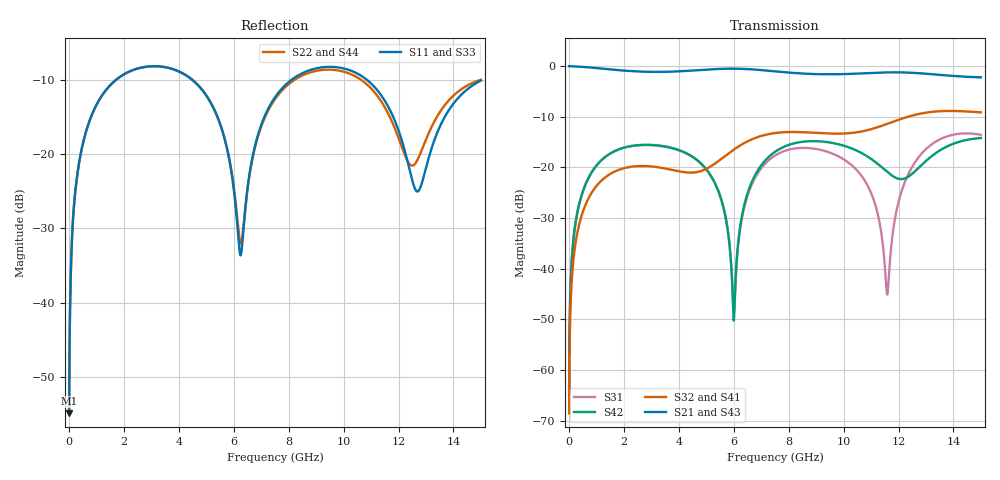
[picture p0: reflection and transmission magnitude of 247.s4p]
! Created with skrf 1.8.0 (http://scikit-rf.org).
# GHz S RI R 50.0
!freq ReS11 ImS11 ReS12 ImS12 ReS13 ImS13
! ReS14 ImS14
! ReS21 ImS21 ReS22 ImS22 ReS23 ImS23
! ReS24 ImS24
! ReS31 ImS31 ReS32 ImS32 ReS33 ImS33
! ReS34 ImS34
! ReS41 ImS41 ReS42 ImS42 ReS43 ImS43
! ReS44 ImS44
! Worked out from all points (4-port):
!   2499 points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, 5 MHz to 15 GHz, reference 50 ohm
!   strongest paths, dB at 5 MHz, 3.476 GHz, 7.19 GHz, 11.1 GHz, 15 GHz:
!     S21: 0.0, -1.1, -0.9, -1.3, -2.2
!     S43: 0.0, -1.1, -0.9, -1.3, -2.2
!     S32: -68.5, -20.2, -13.5, -12.3, -9.1
!     S41: -68.5, -20.2, -13.5, -12.3, -9.2
!     S42: -64.5, -15.8, -18.4, -18.7, -14.2
!     S31: -64.5, -15.9, -19.0, -26.4, -13.6
!   lowest |S11| = -54.9 dB at 5 MHz (marker M1), VSWR 1.00, Z = 50.1 + j0.109 ohm
!   |S11| at or under -10 dB: start of sweep to 1.722 GHz; 4.485 GHz to 8.112 GHz (3.627 GHz wide, 57.6 % of centre); 10.84 GHz to end of sweep
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0.005  0.00143 0.00109  0.9985 -0.00279  7.23e-05 0.000594  -7.01e-05 -0.000368
       0.9985 -0.00279  0.00143 0.00109  -7.01e-05 -0.000368  7.23e-05 0.000594
       7.23e-05 0.000594  -7.01e-05 -0.000368  0.00143 0.00109  0.9985 -0.00279
       -7.01e-05 -0.000368  7.23e-05 0.000594  0.9985 -0.00279  0.00143 0.00109
0.3626511  0.024 0.0825  0.967 -0.201  0.0116 0.0409  -0.00964 -0.025
           0.967 -0.201  0.024 0.0825  -0.00964 -0.025  0.0117 0.0408
           0.0116 0.0409  -0.00964 -0.025  0.024 0.0825  0.967 -0.201
           -0.00964 -0.025  0.0117 0.0408  0.967 -0.201  0.024 0.0825
1.619545  0.2414 0.1857  0.6078 -0.6927  0.1222 0.0735  -0.0883 -0.0158
          0.6078 -0.6927  0.241 0.1859  -0.0885 -0.0157  0.1236 0.0718
          0.1222 0.0735  -0.0885 -0.0157  0.2414 0.1858  0.6077 -0.6927
          -0.0883 -0.0158  0.1236 0.0718  0.6077 -0.6927  0.2411 0.1858
6.002501  0.027 -0.0508  -0.9227 -0.1987  -0.00365 -0.000397  -0.0284 0.1472
          -0.9227 -0.1987  0.0312 -0.051  -0.0254 0.1478  0.00308 -0.000161
          -0.00365 -0.000397  -0.0254 0.1478  0.0296 -0.0514  -0.9226 -0.1987
          -0.0284 0.1472  0.00308 -0.000161  -0.9226 -0.1987  0.029 -0.0526
9.729054  0.3817 -0.0388  0.0072 0.8311  0.119 -0.0571  0.2071 -0.0556
          0.0072 0.8311  0.3653 -0.0273  0.2065 -0.0616  0.119 -0.1236
          0.119 -0.0571  0.2065 -0.0616  0.3811 -0.0416  0.00824 0.8309
          0.2071 -0.0556  0.119 -0.1236  0.00824 0.8309  0.3662 -0.0261
11.58608  0.1439 -0.1591  0.6803 0.537  -0.00527 -0.00179  0.1649 -0.2127
          0.6803 0.537  0.1474 -0.1245  0.1574 -0.2182  -0.0672 -0.0607
          -0.00527 -0.00179  0.1574 -0.2182  0.1444 -0.1606  0.6809 0.5357
          0.1649 -0.2127  -0.0672 -0.0607  0.6809 0.5357  0.1471 -0.1259
15  0.294 0.1036  0.4118 -0.6559  0.2084 -0.0198  -0.3245 -0.1263
    0.4118 -0.6559  0.3087 0.064  -0.3306 -0.1139  0.1903 -0.0434
    0.2084 -0.0198  -0.3306 -0.1139  0.2929 0.0971  0.4092 -0.6579
    -0.3245 -0.1263  0.1903 -0.0434  0.4092 -0.6579  0.3087 0.0667
